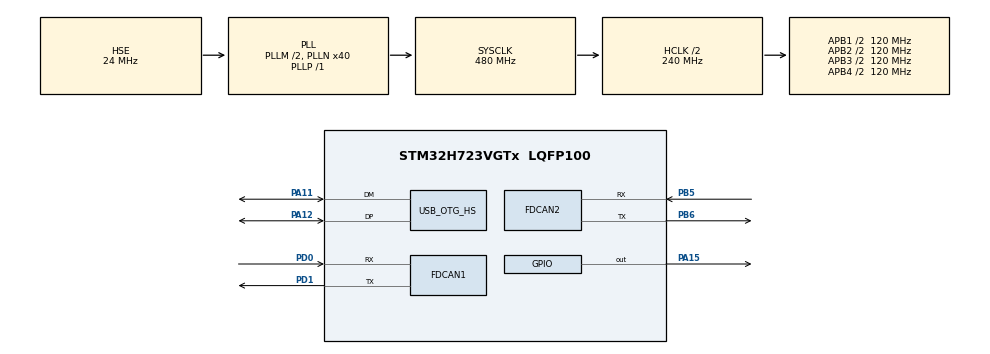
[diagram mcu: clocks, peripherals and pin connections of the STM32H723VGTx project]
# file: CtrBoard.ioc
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CORTEX_M7.CPU_DCache=Disabled
CORTEX_M7.CPU_ICache=Disabled
FDCAN1.CalculateBaudRateNominal=1000000
FDCAN1.CalculateTimeBitNominal=1000
FDCAN1.CalculateTimeQuantumNominal=40.0
FDCAN1.DataPrescaler=4
FDCAN1.DataSyncJumpWidth=1
FDCAN1.DataTimeSeg1=19
FDCAN1.DataTimeSeg2=5
FDCAN1.ExtFiltersNbr=5
FDCAN1.NominalPrescaler=4
FDCAN1.NominalSyncJumpWidth=1
FDCAN1.NominalTimeSeg1=19
FDCAN1.NominalTimeSeg2=5
FDCAN1.RxFifo0ElmtSize=FDCAN_DATA_BYTES_24
FDCAN1.RxFifo0ElmtsNbr=4
FDCAN1.RxFifo1ElmtSize=FDCAN_DATA_BYTES_24
FDCAN1.RxFifo1ElmtsNbr=0
FDCAN1.StdFiltersNbr=5
FDCAN1.TxElmtSize=FDCAN_DATA_BYTES_24
FDCAN1.TxFifoQueueElmtsNbr=8
FDCAN2.CalculateBaudRateNominal=1000000
FDCAN2.CalculateTimeBitNominal=1000
FDCAN2.CalculateTimeQuantumNominal=40.0
FDCAN2.DataPrescaler=4
FDCAN2.DataSyncJumpWidth=1
FDCAN2.DataTimeSeg1=19
FDCAN2.DataTimeSeg2=5
FDCAN2.ExtFiltersNbr=5
FDCAN2.MessageRAMOffset=1280
FDCAN2.NominalPrescaler=4
FDCAN2.NominalSyncJumpWidth=1
FDCAN2.NominalTimeSeg1=19
FDCAN2.NominalTimeSeg2=5
FDCAN2.RxFifo0ElmtSize=FDCAN_DATA_BYTES_24
FDCAN2.RxFifo0ElmtsNbr=4
FDCAN2.RxFifo1ElmtSize=FDCAN_DATA_BYTES_24
FDCAN2.RxFifo1ElmtsNbr=0
FDCAN2.StdFiltersNbr=5
FDCAN2.TxElmtSize=FDCAN_DATA_BYTES_24
FDCAN2.TxFifoQueueElmtsNbr=8
Mcu.Family=STM32H7
Mcu.Name=STM32H723VGTx
Mcu.Package=LQFP100
NVIC.FDCAN1_IT0_IRQn=true\:0\:0\:false\:false\:true\:true\:true\:true
NVIC.FDCAN2_IT0_IRQn=true\:0\:0\:false\:false\:true\:true\:true\:true
NVIC.OTG_HS_IRQn=true\:0\:0\:false\:false\:true\:true\:true\:true
NVIC.PriorityGroup=NVIC_PRIORITYGROUP_4
NVIC.TIM3_IRQn=true\:0\:0\:false\:false\:true\:true\:true\:true
PA11.Mode=Device_Only_FS
PA11.Signal=USB_OTG_HS_DM
PA12.Mode=Device_Only_FS
PA12.Signal=USB_OTG_HS_DP
PA13(JTMS/SWDIO).Mode=Serial_Wire
PA13(JTMS/SWDIO).Signal=DEBUG_JTMS-SWDIO
PA14(JTCK/SWCLK).Mode=Serial_Wire
PA14(JTCK/SWCLK).Signal=DEBUG_JTCK-SWCLK
PA15(JTDI).Signal=GPIO_Output
PB5.GPIO_Speed=GPIO_SPEED_FREQ_LOW
PB5.Mode=FDCAN_Activate
PB5.Signal=FDCAN2_RX
PB6.GPIO_Speed=GPIO_SPEED_FREQ_LOW
PB6.Mode=FDCAN_Activate
PB6.Signal=FDCAN2_TX
PD0.GPIO_Speed=GPIO_SPEED_FREQ_LOW
PD0.Mode=FDCAN_Activate
PD0.Signal=FDCAN1_RX
PD1.GPIO_Speed=GPIO_SPEED_FREQ_LOW
PD1.Mode=FDCAN_Activate
PD1.Signal=FDCAN1_TX
PH0-OSC_IN.Mode=HSE-External-Oscillator
PH0-OSC_IN.Signal=RCC_OSC_IN
PH1-OSC_OUT.Mode=HSE-External-Oscillator
PH1-OSC_OUT.Signal=RCC_OSC_OUT
ProjectManager.HeapSize=0x200
ProjectManager.StackSize=0x400
ProjectManager.TargetToolchain=MDK-ARM V5.32
RCC.ADCFreq_Value=100000000
RCC.APB1Freq_Value=120000000
RCC.APB2Freq_Value=120000000
RCC.APB3Freq_Value=120000000
RCC.APB4Freq_Value=120000000
RCC.CortexFreq_Value=480000000
RCC.D1PPRE=RCC_APB3_DIV2
RCC.D2PPRE1=RCC_APB1_DIV2
RCC.D2PPRE2=RCC_APB2_DIV2
RCC.D3PPRE=RCC_APB4_DIV2
RCC.DIVM1=2
RCC.DIVM2=24
RCC.DIVN1=40
RCC.DIVN2=200
RCC.DIVP1=1
RCC.FDCANCLockSelection=RCC_FDCANCLKSOURCE_PLL2
RCC.HCLKFreq_Value=240000000
RCC.HPRE=RCC_HCLK_DIV2
RCC.HSE_VALUE=24000000
RCC.PLLFRACN=0
RCC.PLLSourceVirtual=RCC_PLLSOURCE_HSE
RCC.RCC_MCO1Source=RCC_MCO1SOURCE_HSE
RCC.SYSCLKFreq_VALUE=480000000
RCC.SYSCLKSource=RCC_SYSCLKSOURCE_PLLCLK
RCC.USBCLockSelection=RCC_USBCLKSOURCE_HSI48
RCC.USBFreq_Value=48000000
TIM3.Period=2000-1
TIM3.Prescaler=240-1
USB_DEVICE.CLASS_NAME_HS=CDC
USB_DEVICE.VirtualMode=Cdc
USB_DEVICE.VirtualModeHS=Cdc_HS
USB_OTG_HS.VirtualMode-Device_Only_FS=Device_Only_FS
VP_TIM3_VS_ClockSourceINT.Mode=Internal
VP_USB_DEVICE_VS_USB_DEVICE_CDC_HS.Mode=CDC_HS
board=custom

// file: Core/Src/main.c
/* USER CODE BEGIN Header */
/**
  ******************************************************************************
  * @file           : main.c
  * @brief          : Main program body
  ******************************************************************************
  * @attention
  *
  * Copyright (c) 2024 STMicroelectronics.
  * All rights reserved.
  *
  * This software is licensed under terms that can be found in the LICENSE file
  * in the root directory of this software component.
  * If no LICENSE file comes with this software, it is provided AS-IS.
  *
  ******************************************************************************
  */
/* USER CODE END Header */
#include "main.h"
#include "fdcan.h"
#include "tim.h"
#include "usb_device.h"
#include "gpio.h"

/* USER CODE BEGIN Includes */
#include "can_bsp.h"
#include "stdio.h"
#include "delay.h"
#include "string.h"
#include "dm4310_drv.h"
#include "dm4310_ctrl.h"

#include "usbd_cdc_if.h"
#include "usbsent.h"
//#include "usbreceive.h"

/* USER CODE END Includes */

void SystemClock_Config(void);
void PeriphCommonClock_Config(void);
/* USER CODE BEGIN PFP */
int step = 1;
uint32_t Len = 26;
uint8_t receive_data_buffer[26] = {0x00};
int8_t result;

/* USER CODE END PFP */

/* USER CODE BEGIN 0 */
void HAL_TIM_PeriodElapsedCallback(TIM_HandleTypeDef *htim)
{
  /* USER CODE BEGIN Callback 0 */
	if (htim->Instance == TIM3) {
		dm4310_ctrl_send(&hfdcan1, &motor[Motor1]);
		dm4310_ctrl_send(&hfdcan2, &motor[Motor7]);
//		delay_us(200);
		dm4310_ctrl_send(&hfdcan1, &motor[Motor2]);
		dm4310_ctrl_send(&hfdcan2, &motor[Motor8]);
//		delay_us(200);
		dm4310_ctrl_send(&hfdcan1, &motor[Motor3]);
		dm4310_ctrl_send(&hfdcan2, &motor[Motor9]);
//		delay_us(200);
		dm4310_ctrl_send(&hfdcan1, &motor[Motor4]);
		dm4310_ctrl_send(&hfdcan2, &motor[MotorA]);
//		delay_us(200);
		dm4310_ctrl_send(&hfdcan1, &motor[Motor5]);
		dm4310_ctrl_send(&hfdcan2, &motor[MotorB]);
//		delay_us(200);
		dm4310_ctrl_send(&hfdcan1, &motor[Motor6]);
		dm4310_ctrl_send(&hfdcan2, &motor[MotorC]);
		///////////////////////////////////////////
//		dm4310_ctrl_send(&hfdcan2, &motor[Motor8]);
//		dm4310_ctrl_send(&hfdcan1, &motor[Motor2]);
//
////		delay_us(200);
//		dm4310_ctrl_send(&hfdcan2, &motor[MotorA]);
//		dm4310_ctrl_send(&hfdcan1, &motor[Motor4]);
//
////		delay_us(200);
//		dm4310_ctrl_send(&hfdcan2, &motor[MotorB]);
//		dm4310_ctrl_send(&hfdcan1, &motor[Motor5]);
//
////		delay_us(200);
//		dm4310_ctrl_send(&hfdcan2, &motor[MotorC]);
//		dm4310_ctrl_send(&hfdcan1, &motor[Motor6]);
//
////		delay_us(200);
//		dm4310_ctrl_send(&hfdcan2, &motor[Motor7]);
//		dm4310_ctrl_send(&hfdcan1, &motor[Motor1]);
//
////		delay_us(200);
//		dm4310_ctrl_send(&hfdcan2, &motor[Motor9]);
//		dm4310_ctrl_send(&hfdcan1, &motor[Motor3]);

//		delay_us(200);
	}
}
/* USER CODE END 0 */

int main(void)
{
  /* USER CODE BEGIN 1 */
//	uint32_t time;
  /* USER CODE END 1 */

  /* MCU Configuration--------------------------------------------------------*/

  /* Reset of all peripherals, Initializes the Flash interface and the Systick. */
  HAL_Init();

  /* Configure the system clock */
  SystemClock_Config();

/* Configure the peripherals common clocks */
  PeriphCommonClock_Config();

  /* Initialize all configured peripherals */
  MX_GPIO_Init();
  MX_FDCAN1_Init();
  MX_TIM3_Init();
  MX_FDCAN2_Init();
  MX_USB_DEVICE_Init();

  /* USER CODE BEGIN 2 */
	can_bsp_init();
	delay_init(480);
		HAL_Delay(500);
	dm4310_motor_init();
		HAL_Delay(2000);

	dm4310_enable(&hfdcan1, &motor[Motor1]);dm4310_enable(&hfdcan1, &motor[Motor2]);delay_us(200);
	dm4310_enable(&hfdcan2, &motor[Motor7]);dm4310_enable(&hfdcan2, &motor[Motor8]);delay_us(200);
	dm4310_enable(&hfdcan1, &motor[Motor3]);dm4310_enable(&hfdcan1, &motor[Motor4]);delay_us(200);
	dm4310_enable(&hfdcan2, &motor[Motor9]);dm4310_enable(&hfdcan2, &motor[MotorA]);delay_us(200);
	dm4310_enable(&hfdcan1, &motor[Motor5]);dm4310_enable(&hfdcan1, &motor[Motor6]);delay_us(200);
	dm4310_enable(&hfdcan2, &motor[MotorB]);dm4310_enable(&hfdcan2, &motor[MotorC]);delay_us(200);

	HAL_TIM_Base_Start_IT(&htim3);

	motor[Motor1].ctrl.kp_set = 0.0f;motor[Motor1].ctrl.pos_set = 0.0f;delay_us(200);
	motor[Motor7].ctrl.kp_set = 0.0f;motor[Motor7].ctrl.pos_set = 0.0f;delay_us(200);
	motor[Motor2].ctrl.kp_set = 0.0f;motor[Motor2].ctrl.pos_set = 0.0f;delay_us(200);
	motor[Motor8].ctrl.kp_set = 0.0f;motor[Motor8].ctrl.pos_set = 0.0f;delay_us(200);
	motor[Motor3].ctrl.kp_set = 0.0f;motor[Motor3].ctrl.pos_set = 0.0f;delay_us(200);
	motor[Motor9].ctrl.kp_set = 0.0f;motor[Motor9].ctrl.pos_set = 0.0f;delay_us(200);
	motor[Motor4].ctrl.kp_set = 0.0f;motor[Motor4].ctrl.pos_set = 0.0f;delay_us(200);
	motor[MotorA].ctrl.kp_set = 0.0f;motor[MotorA].ctrl.pos_set = 0.0f;delay_us(200);
	motor[Motor5].ctrl.kp_set = 0.0f;motor[Motor5].ctrl.pos_set = 0.0f;delay_us(200);
	motor[MotorB].ctrl.kp_set = 0.0f;motor[MotorB].ctrl.pos_set = 0.0f;delay_us(200);
	motor[Motor6].ctrl.kp_set = 0.0f;motor[Motor6].ctrl.pos_set = 0.0f;delay_us(200);
	motor[MotorC].ctrl.kp_set = 0.0f;motor[MotorC].ctrl.pos_set = 0.0f;delay_us(200);

	for(int m = 1; m <= 100; m++){
		motor[Motor1].ctrl.kp_set = 1.5f * m;motor[Motor2].ctrl.kp_set = 1.5f * m;
		motor[Motor7].ctrl.kp_set = 1.5f * m;motor[Motor8].ctrl.kp_set = 1.5f * m;
		motor[Motor3].ctrl.kp_set = 1.5f * m;motor[Motor4].ctrl.kp_set = 1.0f * m;
		motor[Motor9].ctrl.kp_set = 1.5f * m;motor[MotorA].ctrl.kp_set = 1.0f * m;
		motor[Motor5].ctrl.kp_set = 0.75f * m;motor[Motor6].ctrl.kp_set = 0.5f * m;
		motor[MotorB].ctrl.kp_set = 0.75f * m;motor[MotorC].ctrl.kp_set = 0.5f * m;delay_ms(8);
	}
		motor[Motor1].ctrl.kp_set = 150.0f;motor[Motor2].ctrl.kp_set = 150.0;delay_us(200);
		motor[Motor7].ctrl.kp_set = 150.0f;motor[Motor8].ctrl.kp_set = 150.0;delay_us(200);
		motor[Motor3].ctrl.kp_set = 150.0f;motor[Motor4].ctrl.kp_set = 100.0f;delay_us(200);
		motor[Motor9].ctrl.kp_set = 150.0f;motor[MotorA].ctrl.kp_set = 100.0f;delay_us(200);
		motor[Motor5].ctrl.kp_set = 75.0f;motor[Motor6].ctrl.kp_set = 50.0f;delay_us(200);
		motor[MotorB].ctrl.kp_set = 75.0f;motor[MotorC].ctrl.kp_set = 50.0f;delay_us(2000);
  /* USER CODE END 2 */

  /* Infinite loop */
  while (1)
  {

	  send_data(motor);
//	  delay_us(200);
	  CDC_Receive_HS(receive_data_buffer, &Len);
//	  delay_us(200);
//      uint8_t buffer[sizeof(int16_t)];
//	  memcpy(buffer, &motor[0].para.p_int, sizeof(int16_t));
//      CDC_Transmit_HS(buffer, sizeof(int16_t));
  }
}

void SystemClock_Config(void)
{
  RCC_OscInitTypeDef RCC_OscInitStruct = {0};
  RCC_ClkInitTypeDef RCC_ClkInitStruct = {0};

  /** Supply configuration update enable
  */
  HAL_PWREx_ConfigSupply(PWR_LDO_SUPPLY);

  /** Configure the main internal regulator output voltage
  */
  __HAL_PWR_VOLTAGESCALING_CONFIG(PWR_REGULATOR_VOLTAGE_SCALE0);

  while(!__HAL_PWR_GET_FLAG(PWR_FLAG_VOSRDY)) {}

  /** Initializes the RCC Oscillators according to the specified parameters
  * in the RCC_OscInitTypeDef structure.
  */
  RCC_OscInitStruct.OscillatorType = RCC_OSCILLATORTYPE_HSI48|RCC_OSCILLATORTYPE_HSE;
  RCC_OscInitStruct.HSEState = RCC_HSE_ON;
  RCC_OscInitStruct.HSI48State = RCC_HSI48_ON;
  RCC_OscInitStruct.PLL.PLLState = RCC_PLL_ON;
  RCC_OscInitStruct.PLL.PLLSource = RCC_PLLSOURCE_HSE;
  RCC_OscInitStruct.PLL.PLLM = 2;
  RCC_OscInitStruct.PLL.PLLN = 40;
  RCC_OscInitStruct.PLL.PLLP = 1;
  RCC_OscInitStruct.PLL.PLLQ = 2;
  RCC_OscInitStruct.PLL.PLLR = 2;
  RCC_OscInitStruct.PLL.PLLRGE = RCC_PLL1VCIRANGE_3;
  RCC_OscInitStruct.PLL.PLLVCOSEL = RCC_PLL1VCOWIDE;
  RCC_OscInitStruct.PLL.PLLFRACN = 0;
  if (HAL_RCC_OscConfig(&RCC_OscInitStruct) != HAL_OK)
  {
    Error_Handler();
  }

  /** Initializes the CPU, AHB and APB buses clocks
  */
  RCC_ClkInitStruct.ClockType = RCC_CLOCKTYPE_HCLK|RCC_CLOCKTYPE_SYSCLK
                              |RCC_CLOCKTYPE_PCLK1|RCC_CLOCKTYPE_PCLK2
                              |RCC_CLOCKTYPE_D3PCLK1|RCC_CLOCKTYPE_D1PCLK1;
  RCC_ClkInitStruct.SYSCLKSource = RCC_SYSCLKSOURCE_PLLCLK;
  RCC_ClkInitStruct.SYSCLKDivider = RCC_SYSCLK_DIV1;
  RCC_ClkInitStruct.AHBCLKDivider = RCC_HCLK_DIV2;
  RCC_ClkInitStruct.APB3CLKDivider = RCC_APB3_DIV2;
  RCC_ClkInitStruct.APB1CLKDivider = RCC_APB1_DIV2;
  RCC_ClkInitStruct.APB2CLKDivider = RCC_APB2_DIV2;
  RCC_ClkInitStruct.APB4CLKDivider = RCC_APB4_DIV2;

  if (HAL_RCC_ClockConfig(&RCC_ClkInitStruct, FLASH_LATENCY_3) != HAL_OK)
  {
    Error_Handler();
  }
}

void PeriphCommonClock_Config(void)
{
  RCC_PeriphCLKInitTypeDef PeriphClkInitStruct = {0};

  /** Initializes the peripherals clock
  */
  PeriphClkInitStruct.PeriphClockSelection = RCC_PERIPHCLK_FDCAN;
  PeriphClkInitStruct.PLL2.PLL2M = 24;
  PeriphClkInitStruct.PLL2.PLL2N = 200;
  PeriphClkInitStruct.PLL2.PLL2P = 2;
  PeriphClkInitStruct.PLL2.PLL2Q = 2;
  PeriphClkInitStruct.PLL2.PLL2R = 2;
  PeriphClkInitStruct.PLL2.PLL2RGE = RCC_PLL2VCIRANGE_0;
  PeriphClkInitStruct.PLL2.PLL2VCOSEL = RCC_PLL2VCOMEDIUM;
  PeriphClkInitStruct.PLL2.PLL2FRACN = 0;
  PeriphClkInitStruct.FdcanClockSelection = RCC_FDCANCLKSOURCE_PLL2;
  if (HAL_RCCEx_PeriphCLKConfig(&PeriphClkInitStruct) != HAL_OK)
  {
    Error_Handler();
  }
}

void Error_Handler(void)
{
  __disable_irq();
  while (1)
  {
  }
}
